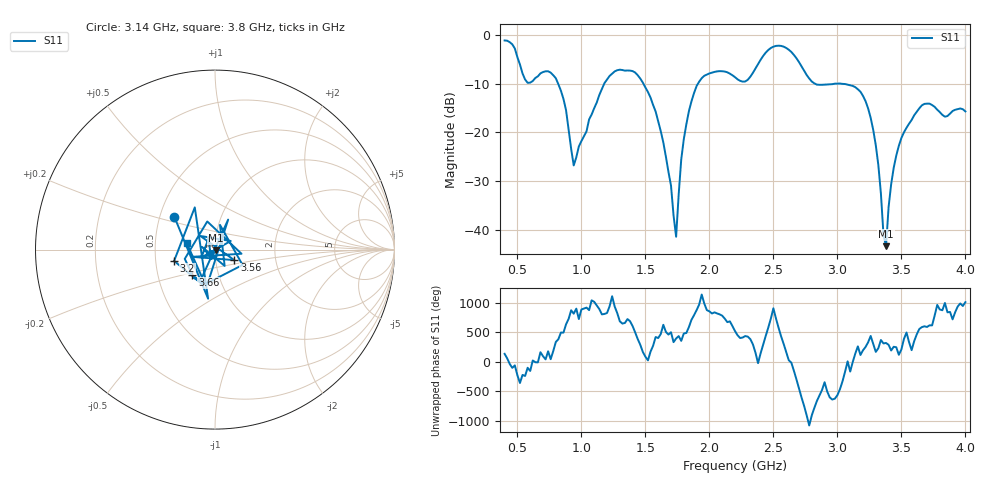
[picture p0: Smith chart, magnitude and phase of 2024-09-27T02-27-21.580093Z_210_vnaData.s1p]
!Created with skrf (http://scikit-rf.org).
# Hz S RI R 50.0
!freq ReS11 ImS11
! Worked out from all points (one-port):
!   181 points, 400 MHz to 4 GHz, reference 50 ohm
!   lowest |S11| = -43.4 dB at 3.38 GHz (marker M1), VSWR 1.01, Z = 50.5 - j0.442 ohm
!   |S11| at or under -10 dB: 817.8 MHz to 1.179 GHz (360.8 MHz wide, 36.1 % of centre); 1.484 GHz to 1.911 GHz (427.4 MHz wide, 25.2 % of centre); 3.022 GHz to end of sweep (the widest 3 of 4)
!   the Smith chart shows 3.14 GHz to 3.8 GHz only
!   S11 on the Smith chart (normalised r, x): 3.14 GHz: 0.60, +0.24; 3.2 GHz: 0.62, -0.08; 3.56 GHz: 1.23, -0.15; 3.66 GHz: 0.75, -0.22; 3.8 GHz: 0.73, +0.05
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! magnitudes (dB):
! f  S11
! 400 MHz  -1.2
! 580 MHz  -9.8
! 740 MHz  -7.5
! 860 MHz  -13.2
! 940 MHz  -26.8
! 1.18 GHz  -9.9
! 1.3 GHz  -7.2
! 1.44 GHz  -8.3
! 1.58 GHz  -15.7
! 1.7 GHz  -30.9
! 1.74 GHz  -41.4
! 1.76 GHz  -32.8
! 1.8 GHz  -21.4
! 1.9 GHz  -10.5
! 2.2 GHz  -8.7
! 2.5 GHz  -2.4
! 2.66 GHz  -4.1
! 2.82 GHz  -10.0
! 3.1 GHz  -10.3
! 3.14 GHz  -10.7
! 3.2 GHz  -12.5
! 3.3 GHz  -22.7
! 3.38 GHz  -43.4
! 3.44 GHz  -27.3
! 3.56 GHz  -18.2
! 3.66 GHz  -14.5
! 3.8 GHz  -15.9
! 4 GHz  -15.7
